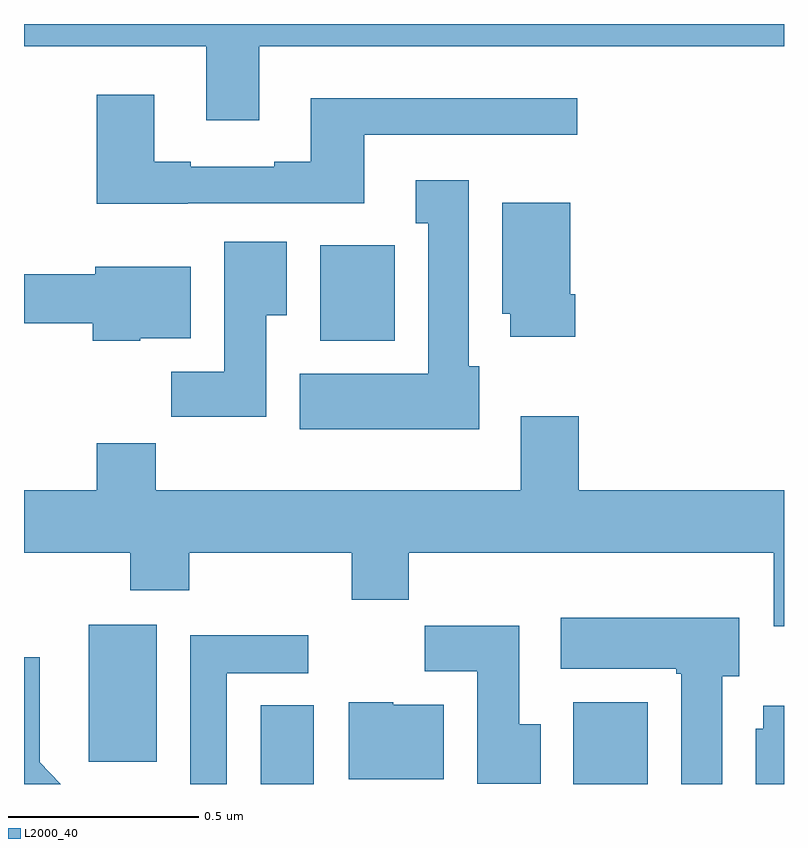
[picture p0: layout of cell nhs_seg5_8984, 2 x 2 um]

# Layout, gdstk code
import gdstk
lib = gdstk.Library(unit=1e-6, precision=1e-09)
def R(c, l, rs):  # rectangles x0, y0, x1, y1
    for r in rs: c.add(gdstk.rectangle(r[:2], r[2:], *l))
def P(c, l, *ps):  # polygons
    for p in ps: c.add(gdstk.Polygon(p, *l))
L2000_40 = (2000, 40)

nhs_seg5_8984 = lib.new_cell('nhs_seg5_8984')
R(nhs_seg5_8984, L2000_40, [(228.623,874.799,228.763,875.006), (229.445,874.799,229.641,875.014), (228.17,874.857,228.349,875.218), (228.779,875.966,228.975,876.217)])
P(nhs_seg5_8984, L2000_40, [(228.619,876.74),(230,876.74),(230,876.799),(228,876.799),(228,876.74),(228.479,876.74),(228.479,876.546),(228.619,876.546)],
  [(228.431,876.327),(228.895,876.327),(228.895,876.507),(229.456,876.507),(229.456,876.604),(228.755,876.604),(228.755,876.436),(228.659,876.436),(228.659,876.423),(228.439,876.423),(228.439,876.436),(228.343,876.436),(228.343,876.613),(228.191,876.613),(228.191,876.326),(228.431,876.326)],
  [(229.198,875.898),(229.171,875.898),(229.171,876.388),(229.031,876.388),(229.031,876.275),(229.064,876.275),(229.064,875.878),(228.725,875.878),(228.725,875.732),(229.198,875.732)],
  [(229.451,876.088),(229.438,876.088),(229.438,876.328),(229.259,876.328),(229.259,876.036),(229.28,876.036),(229.28,875.976),(229.451,875.976)],
  [(228.637,876.032),(228.691,876.032),(228.691,876.226),(228.527,876.226),(228.527,875.884),(228.388,875.884),(228.388,875.766),(228.637,875.766)],
  [(228.306,875.972),(228.439,875.972),(228.439,876.16),(228.188,876.16),(228.188,876.14),(228,876.14),(228,876.012),(228.181,876.012),(228.181,875.966),(228.306,875.966)],
  [(230,875.572),(229.46,875.572),(229.46,875.767),(229.307,875.767),(229.307,875.572),(228.347,875.572),(228.347,875.696),(228.191,875.696),(228.191,875.572),(228,875.572),(228,875.408),(228.28,875.408),(228.28,875.309),(228.435,875.309),(228.435,875.408),(228.862,875.408),(228.862,875.284),(229.013,875.284),(229.013,875.408),(229.973,875.408),(229.973,875.214),(230,875.214)],
  [(229.837,875.082),(229.882,875.082),(229.882,875.236),(229.413,875.236),(229.413,875.102),(229.717,875.102),(229.717,875.089),(229.73,875.089),(229.73,874.799),(229.837,874.799)],
  [(229.36,874.956),(229.303,874.956),(229.303,875.215),(229.054,875.215),(229.054,875.096),(229.193,875.096),(229.193,874.8),(229.36,874.8)],
  [(228.534,875.091),(228.748,875.091),(228.748,875.19),(228.438,875.19),(228.438,874.799),(228.534,874.799)],
  [(228.041,874.856),(228.041,874.978),(228.042,874.978),(228.042,875.132),(228,875.132),(228,874.799),(228.097,874.799)],
  [(229.105,875.008),(228.972,875.008),(228.972,875.014),(228.854,875.014),(228.854,874.811),(229.105,874.811)],
  [(230,875.005),(229.946,875.005),(229.946,874.944),(229.925,874.944),(229.925,874.799),(230,874.799)])

lib.write_gds('nhs_seg5_8984.gds')
